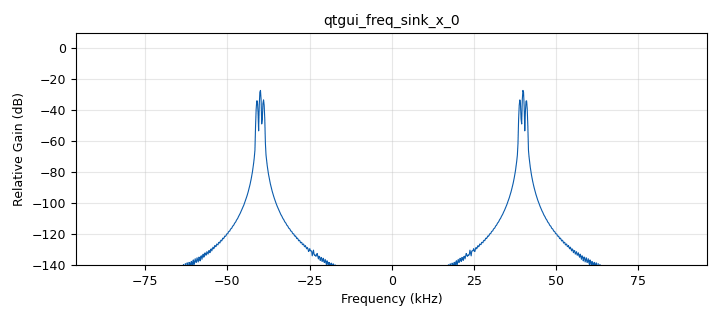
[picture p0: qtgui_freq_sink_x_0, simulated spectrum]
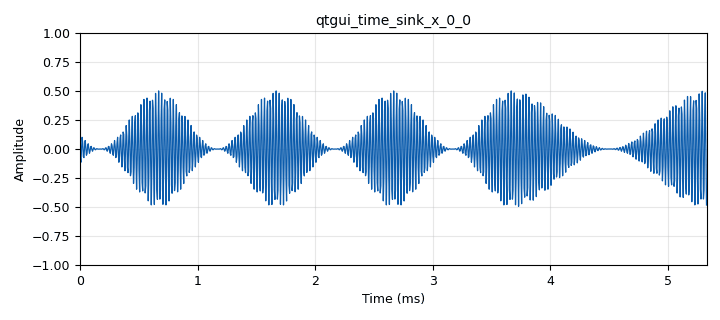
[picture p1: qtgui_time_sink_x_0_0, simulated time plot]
<?xml version='1.0' encoding='utf-8'?>
<?grc format='1' created='3.7.10'?>
<flow_graph>
<block>
<key>options</key>
<param><key>id</key><value>top_block</value></param>
<param><key>generate_options</key><value>qt_gui</value></param>
</block>
<block>
<key>variable_qtgui_range</key>
<param><key>id</key><value>carrier_amplitude</value></param>
<param><key>value</key><value>0.5</value></param>
<param><key>orient</key><value>Qt.Horizontal</value></param>
<param><key>start</key><value>0</value></param>
<param><key>step</key><value>0.05</value></param>
<param><key>stop</key><value>1</value></param>
</block>
<block>
<key>variable</key>
<param><key>id</key><value>carrier_freq</value></param>
<param><key>value</key><value>40000</value></param>
</block>
<block>
<key>variable_qtgui_range</key>
<param><key>id</key><value>mod_index</value></param>
<param><key>value</key><value>0.5</value></param>
<param><key>orient</key><value>Qt.Horizontal</value></param>
<param><key>start</key><value>0</value></param>
<param><key>step</key><value>0.1</value></param>
<param><key>stop</key><value>1</value></param>
</block>
<block>
<key>variable</key>
<param><key>id</key><value>pulse_width</value></param>
<param><key>value</key><value>1920</value></param>
</block>
<block>
<key>variable</key>
<param><key>id</key><value>samp_rate</value></param>
<param><key>value</key><value>192000</value></param>
</block>
<block>
<key>variable</key>
<param><key>id</key><value>tone_0</value></param>
<param><key>value</key><value>600</value></param>
</block>
<block>
<key>variable</key>
<param><key>id</key><value>tone_1</value></param>
<param><key>value</key><value>1000</value></param>
</block>
<block>
<key>analog_const_source_x</key>
<param><key>id</key><value>analog_const_source_x_0</value></param>
<param><key>const</key><value>-1</value></param>
<param><key>type</key><value>float</value></param>
</block>
<block>
<key>analog_const_source_x</key>
<param><key>id</key><value>analog_const_source_x_0_0</value></param>
<param><key>const</key><value>carrier_amplitude</value></param>
<param><key>type</key><value>float</value></param>
</block>
<block>
<key>analog_sig_source_x</key>
<param><key>id</key><value>analog_sig_source_x_0</value></param>
<param><key>amp</key><value>mod_index</value></param>
<param><key>freq</key><value>tone_0</value></param>
<param><key>offset</key><value>0</value></param>
<param><key>type</key><value>float</value></param>
<param><key>samp_rate</key><value>samp_rate</value></param>
<param><key>waveform</key><value>analog.GR_COS_WAVE</value></param>
</block>
<block>
<key>analog_sig_source_x</key>
<param><key>id</key><value>analog_sig_source_x_0_0</value></param>
<param><key>amp</key><value>mod_index</value></param>
<param><key>freq</key><value>tone_1</value></param>
<param><key>offset</key><value>0</value></param>
<param><key>type</key><value>float</value></param>
<param><key>samp_rate</key><value>samp_rate</value></param>
<param><key>waveform</key><value>analog.GR_COS_WAVE</value></param>
</block>
<block>
<key>analog_sig_source_x</key>
<param><key>id</key><value>analog_sig_source_x_0_1</value></param>
<param><key>amp</key><value>carrier_amplitude</value></param>
<param><key>freq</key><value>carrier_freq</value></param>
<param><key>offset</key><value>0</value></param>
<param><key>type</key><value>float</value></param>
<param><key>samp_rate</key><value>samp_rate</value></param>
<param><key>waveform</key><value>analog.GR_COS_WAVE</value></param>
</block>
<block>
<key>audio_sink</key>
<param><key>id</key><value>audio_sink_0</value></param>
<param><key>samp_rate</key><value>samp_rate</value></param>
</block>
<block>
<key>blocks_add_const_vxx</key>
<param><key>id</key><value>blocks_add_const_vxx_0</value></param>
<param><key>const</key><value>-1</value></param>
<param><key>type</key><value>float</value></param>
</block>
<block>
<key>blocks_add_xx</key>
<param><key>id</key><value>blocks_add_xx_0</value></param>
<param><key>type</key><value>float</value></param>
<param><key>num_inputs</key><value>3</value></param>
</block>
<block>
<key>blocks_file_sink</key>
<param><key>id</key><value>blocks_file_sink_0</value></param>
<param><key>file</key><value>/home/pi/AM_signal</value></param>
<param><key>type</key><value>float</value></param>
</block>
<block>
<key>blocks_multiply_xx</key>
<param><key>id</key><value>blocks_multiply_xx_0</value></param>
<param><key>type</key><value>float</value></param>
<param><key>num_inputs</key><value>3</value></param>
</block>
<block>
<key>blocks_multiply_xx</key>
<param><key>id</key><value>blocks_multiply_xx_1</value></param>
<param><key>type</key><value>float</value></param>
</block>
<block>
<key>blocks_multiply_xx</key>
<param><key>id</key><value>blocks_multiply_xx_2</value></param>
<param><key>type</key><value>float</value></param>
</block>
<block>
<key>blocks_repeat</key>
<param><key>id</key><value>blocks_repeat_0</value></param>
<param><key>interp</key><value>pulse_width</value></param>
<param><key>type</key><value>float</value></param>
</block>
<block>
<key>blocks_throttle</key>
<param><key>id</key><value>blocks_throttle_0</value></param>
<param><key>samples_per_second</key><value>samp_rate</value></param>
<param><key>type</key><value>float</value></param>
</block>
<block>
<key>blocks_vector_source_x</key>
<param><key>id</key><value>blocks_vector_source_x_0</value></param>
<param><key>type</key><value>float</value></param>
<param><key>repeat</key><value>True</value></param>
<param><key>vector</key><value>(0,1,1,1,0,1,0,1,0,1,0,0,0,0,0,0,0,0,0,0)</value></param>
</block>
<block>
<key>qtgui_freq_sink_x</key>
<param><key>id</key><value>qtgui_freq_sink_x_0</value></param>
<param><key>bw</key><value>samp_rate</value></param>
<param><key>fc</key><value>0</value></param>
<param><key>ctrlpanel</key><value>True</value></param>
<param><key>fftsize</key><value>1024</value></param>
<param><key>showports</key><value>True</value></param>
<param><key>type</key><value>float</value></param>
<param><key>wintype</key><value>firdes.WIN_BLACKMAN_hARRIS</value></param>
</block>
<block>
<key>qtgui_time_sink_x</key>
<param><key>id</key><value>qtgui_time_sink_x_0_0</value></param>
<param><key>ctrlpanel</key><value>True</value></param>
<param><key>color1</key><value>"blue"</value></param>
<param><key>label1</key><value></value></param>
<param><key>size</key><value>1024</value></param>
<param><key>srate</key><value>samp_rate</value></param>
<param><key>tr_delay</key><value>0.01</value></param>
<param><key>tr_level</key><value>0.1</value></param>
<param><key>type</key><value>float</value></param>
</block>
<connection><source_block_id>analog_const_source_x_0</source_block_id><sink_block_id>blocks_multiply_xx_0</sink_block_id><source_key>0</source_key><sink_key>1</sink_key></connection>
<connection><source_block_id>analog_const_source_x_0_0</source_block_id><sink_block_id>blocks_add_xx_0</sink_block_id><source_key>0</source_key><sink_key>2</sink_key></connection>
<connection><source_block_id>analog_sig_source_x_0</source_block_id><sink_block_id>blocks_multiply_xx_0</sink_block_id><source_key>0</source_key><sink_key>2</sink_key></connection>
<connection><source_block_id>analog_sig_source_x_0_0</source_block_id><sink_block_id>blocks_multiply_xx_1</sink_block_id><source_key>0</source_key><sink_key>0</sink_key></connection>
<connection><source_block_id>analog_sig_source_x_0_1</source_block_id><sink_block_id>blocks_throttle_0</sink_block_id><source_key>0</source_key><sink_key>0</sink_key></connection>
<connection><source_block_id>blocks_add_const_vxx_0</source_block_id><sink_block_id>blocks_multiply_xx_0</sink_block_id><source_key>0</source_key><sink_key>0</sink_key></connection>
<connection><source_block_id>blocks_add_xx_0</source_block_id><sink_block_id>blocks_multiply_xx_2</sink_block_id><source_key>0</source_key><sink_key>0</sink_key></connection>
<connection><source_block_id>blocks_multiply_xx_0</source_block_id><sink_block_id>blocks_add_xx_0</sink_block_id><source_key>0</source_key><sink_key>1</sink_key></connection>
<connection><source_block_id>blocks_multiply_xx_1</source_block_id><sink_block_id>blocks_add_xx_0</sink_block_id><source_key>0</source_key><sink_key>0</sink_key></connection>
<connection><source_block_id>blocks_multiply_xx_2</source_block_id><sink_block_id>audio_sink_0</sink_block_id><source_key>0</source_key><sink_key>0</sink_key></connection>
<connection><source_block_id>blocks_multiply_xx_2</source_block_id><sink_block_id>blocks_file_sink_0</sink_block_id><source_key>0</source_key><sink_key>0</sink_key></connection>
<connection><source_block_id>blocks_multiply_xx_2</source_block_id><sink_block_id>qtgui_freq_sink_x_0</sink_block_id><source_key>0</source_key><sink_key>0</sink_key></connection>
<connection><source_block_id>blocks_multiply_xx_2</source_block_id><sink_block_id>qtgui_time_sink_x_0_0</sink_block_id><source_key>0</source_key><sink_key>0</sink_key></connection>
<connection><source_block_id>blocks_repeat_0</source_block_id><sink_block_id>blocks_add_const_vxx_0</sink_block_id><source_key>0</source_key><sink_key>0</sink_key></connection>
<connection><source_block_id>blocks_repeat_0</source_block_id><sink_block_id>blocks_multiply_xx_1</sink_block_id><source_key>0</source_key><sink_key>1</sink_key></connection>
<connection><source_block_id>blocks_throttle_0</source_block_id><sink_block_id>blocks_multiply_xx_2</sink_block_id><source_key>0</source_key><sink_key>1</sink_key></connection>
<connection><source_block_id>blocks_vector_source_x_0</source_block_id><sink_block_id>blocks_repeat_0</sink_block_id><source_key>0</source_key><sink_key>0</sink_key></connection>
</flow_graph>
